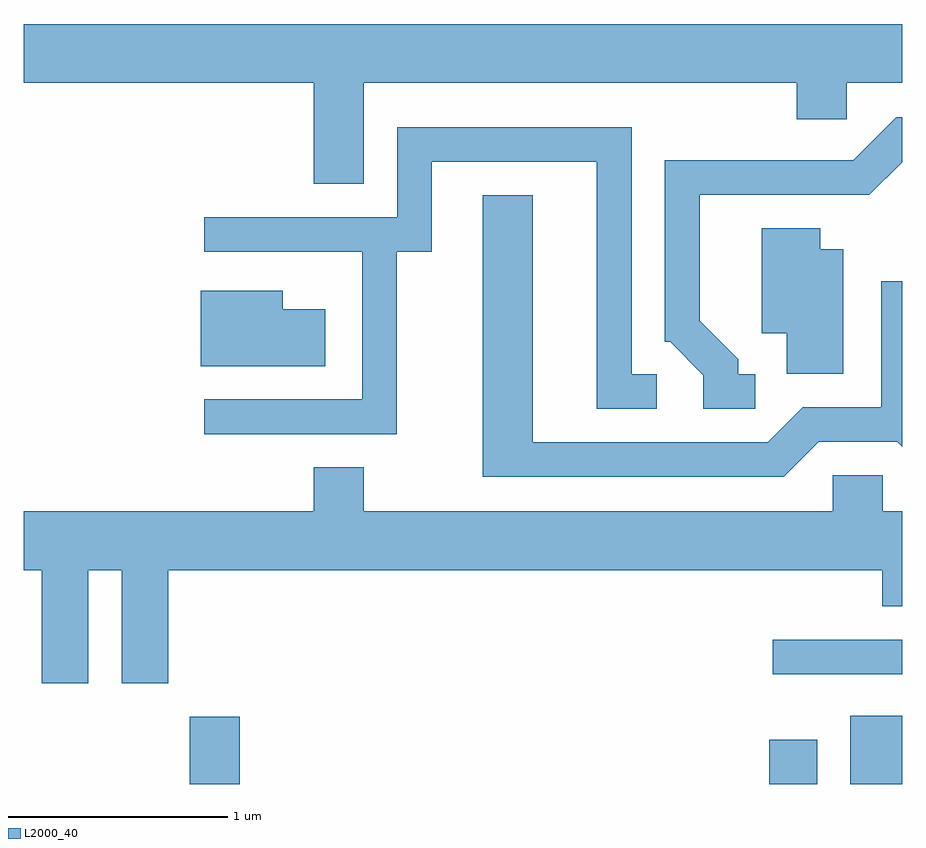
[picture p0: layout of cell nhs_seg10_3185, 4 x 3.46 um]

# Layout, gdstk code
import gdstk
lib = gdstk.Library(unit=1e-6, precision=1e-09)
def R(c, l, rs):  # rectangles x0, y0, x1, y1
    for r in rs: c.add(gdstk.rectangle(r[:2], r[2:], *l))
def P(c, l, *ps):  # polygons
    for p in ps: c.add(gdstk.Polygon(p, *l))
L2000_40 = (2000, 40)

nhs_seg10_3185 = lib.new_cell('nhs_seg10_3185')
R(nhs_seg10_3185, L2000_40, [(280.366,2088.522,280.594,2088.829), (283.006,2088.522,283.224,2088.724), (283.376,2088.522,283.611,2088.834), (283.023,2089.021,283.611,2089.179)])
P(nhs_seg10_3185, L2000_40, [(281.159,2091.716),(283.131,2091.716),(283.131,2091.551),(283.359,2091.551),(283.359,2091.716),(283.611,2091.716),(283.611,2091.984),(279.611,2091.984),(279.611,2091.716),(280.931,2091.716),(280.931,2091.256),(281.159,2091.256)],
  [(282.943,2090.389),(282.864,2090.389),(282.864,2090.457),(282.689,2090.632),(282.689,2091.206),(283.462,2091.206),(283.611,2091.355),(283.611,2091.559),(283.584,2091.559),(283.389,2091.364),(282.531,2091.364),(282.531,2090.536),(282.554,2090.536),(282.706,2090.384),(282.706,2090.231),(282.943,2090.231)],
  [(281.309,2090.946),(281.469,2090.946),(281.469,2091.356),(282.221,2091.356),(282.221,2090.231),(282.493,2090.231),(282.493,2090.389),(282.379,2090.389),(282.379,2091.514),(281.311,2091.514),(281.311,2091.104),(280.433,2091.104),(280.433,2090.946),(281.151,2090.946),(281.151,2090.274),(280.433,2090.274),(280.433,2090.116),(281.309,2090.116)],
  [(283.232,2090.081),(283.589,2090.081),(283.611,2090.059),(283.611,2090.813),(283.516,2090.813),(283.516,2090.239),(283.159,2090.239),(282.999,2090.079),(281.929,2090.079),(281.929,2091.204),(281.701,2091.204),(281.701,2089.921),(283.072,2089.921)],
  [(283.344,2090.959),(283.239,2090.959),(283.239,2091.054),(282.971,2091.054),(282.971,2090.576),(283.086,2090.576),(283.086,2090.391),(283.344,2090.391)],
  [(280.984,2090.684),(280.789,2090.684),(280.789,2090.769),(280.416,2090.769),(280.416,2090.426),(280.984,2090.426)],
  [(279.904,2089.496),(280.056,2089.496),(280.056,2088.981),(280.269,2088.981),(280.269,2089.496),(283.521,2089.496),(283.521,2089.331),(283.611,2089.331),(283.611,2089.764),(283.524,2089.764),(283.524,2089.929),(283.296,2089.929),(283.296,2089.764),(281.159,2089.764),(281.159,2089.964),(280.931,2089.964),(280.931,2089.764),(279.611,2089.764),(279.611,2089.496),(279.691,2089.496),(279.691,2088.981),(279.904,2088.981)])

lib.write_gds('nhs_seg10_3185.gds')
